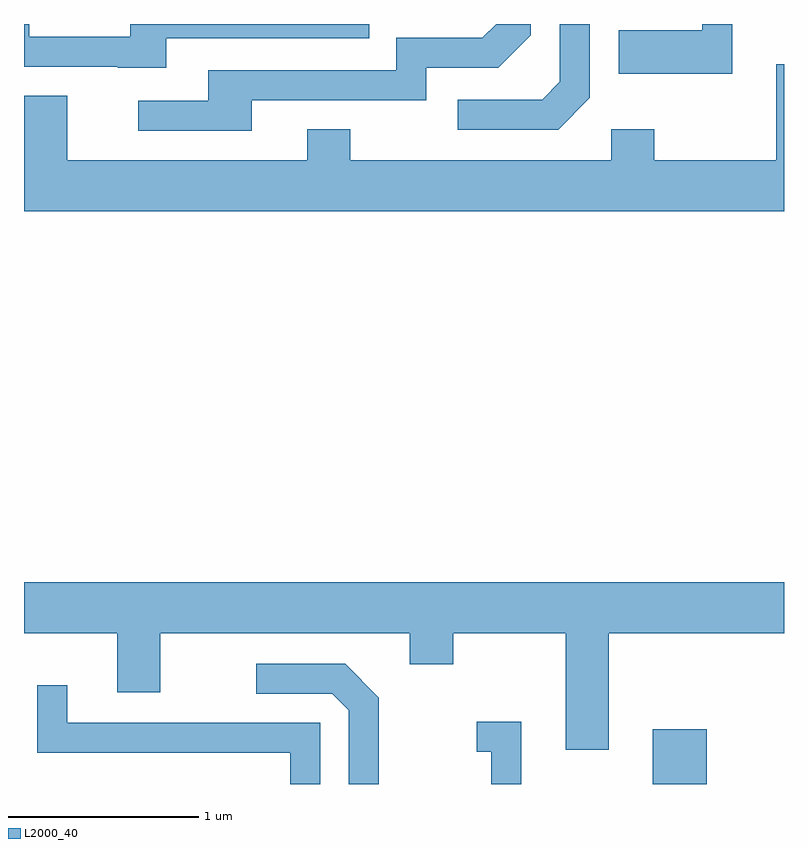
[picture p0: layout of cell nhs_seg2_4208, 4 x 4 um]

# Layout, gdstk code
import gdstk
lib = gdstk.Library(unit=1e-6, precision=1e-09)
def R(c, l, rs):  # rectangles x0, y0, x1, y1
    for r in rs: c.add(gdstk.rectangle(r[:2], r[2:], *l))
def P(c, l, *ps):  # polygons
    for p in ps: c.add(gdstk.Polygon(p, *l))
L2000_40 = (2000, 40)

nhs_seg2_4208 = lib.new_cell('nhs_seg2_4208')
R(nhs_seg2_4208, L2000_40, [(312.921,989.802,313.204,990.089)])
P(nhs_seg2_4208, L2000_40, [(310.359,993.726),(311.428,993.726),(311.428,993.802),(310.171,993.802),(310.171,993.734),(309.639,993.734),(309.639,993.802),(309.611,993.802),(309.611,993.576),(310.105,993.576),(310.105,993.571),(310.359,993.571)],
  [(310.809,993.401),(311.729,993.401),(311.729,993.571),(312.107,993.571),(312.279,993.744),(312.279,993.802),(312.096,993.802),(312.024,993.729),(311.571,993.729),(311.571,993.559),(310.581,993.559),(310.581,993.399),(310.213,993.399),(310.213,993.241),(310.809,993.241)],
  [(312.589,993.414),(312.589,993.802),(312.431,993.802),(312.431,993.497),(312.339,993.404),(311.893,993.404),(311.893,993.246),(312.422,993.246)],
  [(313.339,993.802),(313.181,993.802),(313.181,993.769),(312.741,993.769),(312.741,993.541),(313.339,993.541)],
  [(313.611,993.589),(313.571,993.589),(313.571,993.084),(312.929,993.084),(312.929,993.249),(312.701,993.249),(312.701,993.084),(311.329,993.084),(311.329,993.249),(311.101,993.249),(311.101,993.084),(309.839,993.084),(309.839,993.424),(309.611,993.424),(309.611,992.816),(313.611,992.816)],
  [(312.689,990.596),(313.611,990.596),(313.611,990.864),(309.611,990.864),(309.611,990.596),(310.101,990.596),(310.101,990.286),(310.329,990.286),(310.329,990.596),(311.641,990.596),(311.641,990.431),(311.869,990.431),(311.869,990.596),(312.461,990.596),(312.461,989.981),(312.689,989.981)],
  [(311.479,990.257),(311.302,990.434),(310.833,990.434),(310.833,990.276),(311.234,990.276),(311.321,990.189),(311.321,989.802),(311.479,989.802)],
  [(311.169,990.124),(309.839,990.124),(309.839,990.323),(309.681,990.323),(309.681,989.966),(311.011,989.966),(311.011,989.802),(311.169,989.802)],
  [(312.229,990.129),(311.993,990.129),(311.993,989.971),(312.071,989.971),(312.071,989.802),(312.229,989.802)])

lib.write_gds('nhs_seg2_4208.gds')
